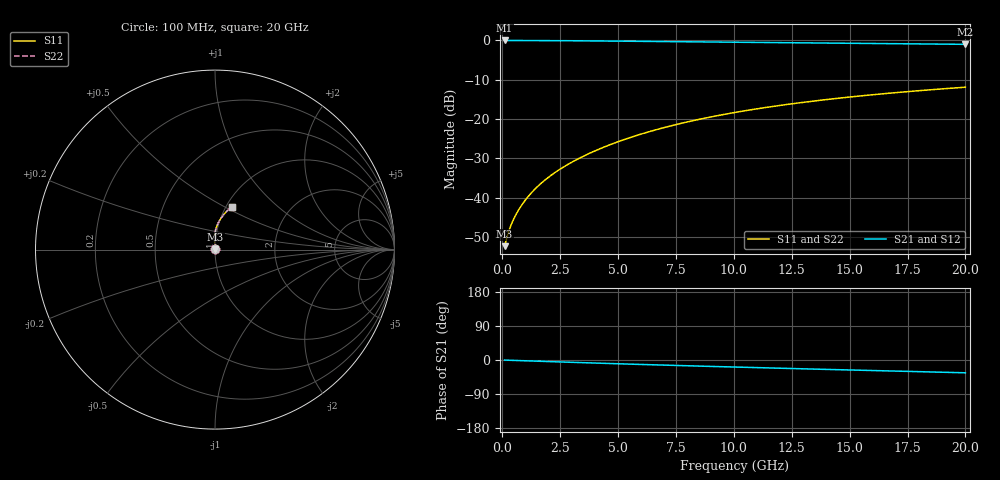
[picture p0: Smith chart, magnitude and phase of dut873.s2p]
! Touchstone file exported from HFSS 2024.1.0
!  File:  C:/UserFiles/LocalFiles/RDL_TSV_Batchsim/temp_RDL_bottom_873_1779865160.aedt
!  Generated:  03:01:53 PM May 27, 2026
!  Design:  RDL_bottom
!  Project:  temp_RDL_bottom_873_1779865160
!  Setup:  Setup1
!  Solution:  Sweep
! Variables:
!  dtsv = 10.80580581um
!  hbump = 3um
!  htsv = 78.41um
!  ldown = 509.76um
!  lrdl = 100um
!  p = 40
!  p1 = 48.89um
!  rhole = 1um
!  t = 450um
!  tdown = 3.29um
!  trdl = 3.915915916um
!  wdown = 29.48um
!  wrdl = 20um
# GHz S MA R 50.000000
! Terminal data exported
! Port[1] = RDL1_T1
! Port[2] = RDL1_T2
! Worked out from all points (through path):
!   200 points, 100 MHz to 20 GHz, reference 50 ohm
!   highest |S21| = -0.02 dB at 100 MHz (marker M1); lowest = -1.0 dB at 20 GHz (marker M2)
!   group delay of S21, straight-line fit = 4.61 ps
!   lowest |S11| = -52.3 dB at 100 MHz (marker M3), VSWR 1.00, Z = 50.2 + j0.112 ohm
!   |S11| at or under -10 dB: start of sweep to end of sweep
!   |S22| runs from -52.3 to -11.9 dB; largest |S21 - S12| = 4e-15
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0.1  0.002423 27.4  0.9978 -0.2  0.9978 -0.2  0.002423 27.4
! Gamma 0 0 0 0
! Port Impedance 50 0 50 0
0.2  0.003138 42.8  0.9976 -0.4  0.9976 -0.4  0.003138 42.8
0.3  0.003909 51.3  0.9974 -0.7  0.9974 -0.7  0.003909 51.3
0.4  0.004668 57.1  0.9972 -0.9  0.9972 -0.9  0.004668 57.1
0.5  0.005423 61.5  0.997 -1.1  0.997 -1.1  0.005423 61.5
0.8  0.007752 70.7  0.9965 -1.7  0.9965 -1.7  0.007752 70.7
1  0.009379 74.8  0.9962 -2.1  0.9962 -2.1  0.009379 74.8
1.2  0.01106 77.9  0.9957 -2.5  0.9957 -2.5  0.01106 77.9
1.7  0.01547 83.3  0.9944 -3.5  0.9944 -3.5  0.01547 83.3
2.2  0.02017 86.8  0.9928 -4.6  0.9928 -4.6  0.02017 86.8
2.8  0.02617 89.5  0.9903 -5.8  0.9903 -5.8  0.02617 89.5
3.5  0.03368 91.4  0.9869 -7.1  0.9869 -7.1  0.03369 91.4
4.2  0.04173 92.5  0.9831 -8.5  0.9831 -8.5  0.04174 92.5
5  0.05153 92.9  0.9784 -10.0  0.9784 -10.0  0.05153 92.9
5.9  0.06317 92.7  0.9728 -11.6  0.9728 -11.6  0.06318 92.7
6.8  0.07534 91.9  0.967 -13.2  0.967 -13.2  0.07534 91.9
8.4  0.09777 89.7  0.9568 -15.9  0.9568 -15.9  0.09777 89.7
10.1  0.1221 86.8  0.9462 -18.7  0.9462 -18.7  0.1221 86.8
11.7  0.1449 83.8  0.9366 -21.3  0.9366 -21.3  0.1449 83.8
13.4  0.1687 80.5  0.9268 -23.9  0.9268 -23.9  0.1687 80.5
16.7  0.213 74.3  0.9086 -28.9  0.9086 -28.9  0.213 74.3
20  0.254 68.4  0.8909 -33.8  0.8909 -33.8  0.254 68.4
